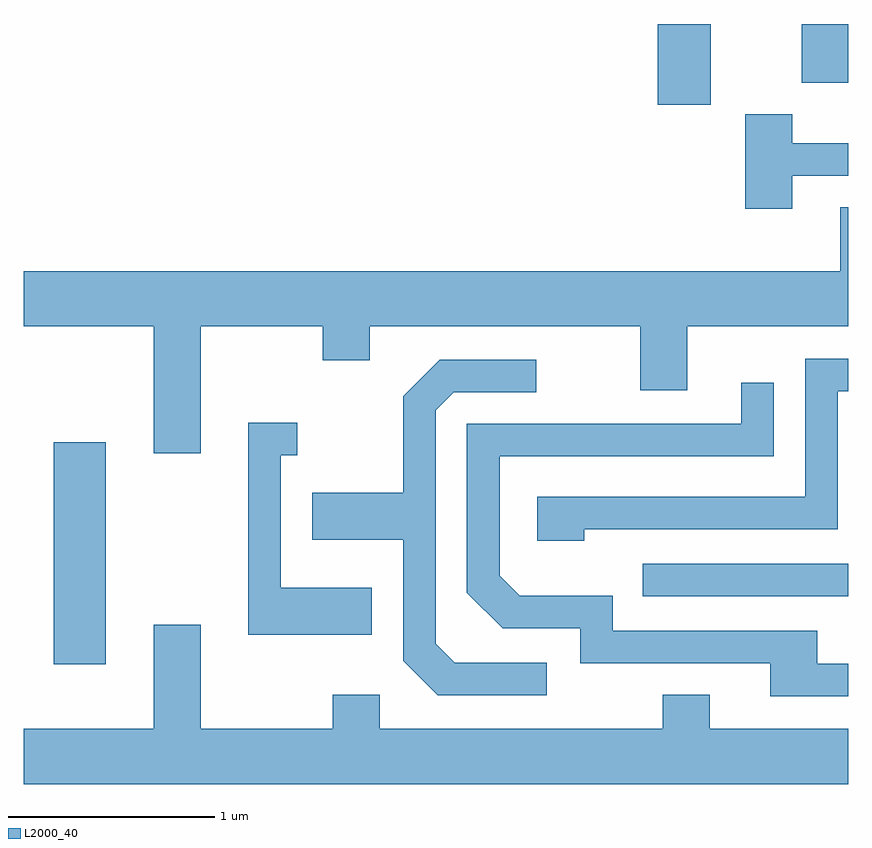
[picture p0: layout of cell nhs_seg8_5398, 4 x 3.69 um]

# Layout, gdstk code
import gdstk
lib = gdstk.Library(unit=1e-6, precision=1e-09)
def R(c, l, rs):  # rectangles x0, y0, x1, y1
    for r in rs: c.add(gdstk.rectangle(r[:2], r[2:], *l))
def P(c, l, *ps):  # polygons
    for p in ps: c.add(gdstk.Polygon(p, *l))
L2000_40 = (2000, 40)

nhs_seg8_5398 = lib.new_cell('nhs_seg8_5398')
R(nhs_seg8_5398, L2000_40, [(347.756,1819.236,348.009,1820.314), (350.613,1819.566,351.611,1819.724), (350.686,1821.951,350.944,1822.342), (351.386,1822.056,351.611,1822.342)])
P(nhs_seg8_5398, L2000_40, [(351.339,1821.606),(351.611,1821.606),(351.611,1821.764),(351.339,1821.764),(351.339,1821.904),(351.111,1821.904),(351.111,1821.446),(351.339,1821.446)],
  [(348.469,1820.876),(349.061,1820.876),(349.061,1820.711),(349.289,1820.711),(349.289,1820.876),(350.601,1820.876),(350.601,1820.566),(350.829,1820.566),(350.829,1820.876),(351.611,1820.876),(351.611,1821.454),(351.571,1821.454),(351.571,1821.144),(347.611,1821.144),(347.611,1820.876),(348.241,1820.876),(348.241,1820.261),(348.469,1820.261)],
  [(350.329,1819.891),(351.559,1819.891),(351.559,1820.561),(351.611,1820.561),(351.611,1820.719),(351.401,1820.719),(351.401,1820.049),(350.101,1820.049),(350.101,1819.836),(350.329,1819.836)],
  [(350.148,1819.244),(349.702,1819.244),(349.609,1819.337),(349.609,1820.469),(349.697,1820.556),(350.098,1820.556),(350.098,1820.714),(349.629,1820.714),(349.451,1820.537),(349.451,1820.069),(349.011,1820.069),(349.011,1819.841),(349.451,1819.841),(349.451,1819.254),(349.619,1819.086),(350.148,1819.086)],
  [(351.611,1819.239),(351.459,1819.239),(351.459,1819.399),(350.469,1819.399),(350.469,1819.569),(350.017,1819.569),(349.919,1819.667),(349.919,1820.246),(351.249,1820.246),(351.249,1820.603),(351.091,1820.603),(351.091,1820.404),(349.761,1820.404),(349.761,1819.584),(349.934,1819.411),(350.311,1819.411),(350.311,1819.241),(351.231,1819.241),(351.231,1819.081),(351.611,1819.081)],
  [(349.299,1819.609),(348.859,1819.609),(348.859,1820.251),(348.938,1820.251),(348.938,1820.409),(348.701,1820.409),(348.701,1819.381),(349.299,1819.381)],
  [(351.611,1818.924),(350.939,1818.924),(350.939,1819.089),(350.711,1819.089),(350.711,1818.924),(349.339,1818.924),(349.339,1819.089),(349.111,1819.089),(349.111,1818.924),(348.469,1818.924),(348.469,1819.429),(348.241,1819.429),(348.241,1818.924),(347.611,1818.924),(347.611,1818.656),(351.611,1818.656)])

lib.write_gds('nhs_seg8_5398.gds')
